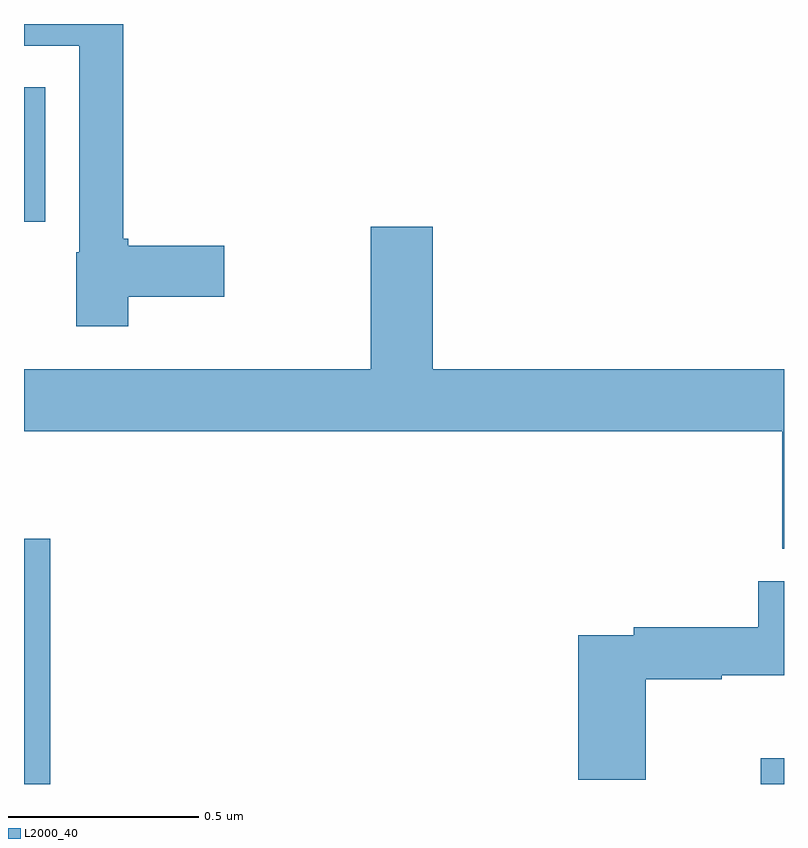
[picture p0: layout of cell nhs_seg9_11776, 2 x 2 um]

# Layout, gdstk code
import gdstk
lib = gdstk.Library(unit=1e-6, precision=1e-09)
def R(c, l, rs):  # rectangles x0, y0, x1, y1
    for r in rs: c.add(gdstk.rectangle(r[:2], r[2:], *l))
def P(c, l, *ps):  # polygons
    for p in ps: c.add(gdstk.Polygon(p, *l))
L2000_40 = (2000, 40)

nhs_seg9_11776 = lib.new_cell('nhs_seg9_11776')
R(nhs_seg9_11776, L2000_40, [(260,1187.5,260.069,1188.145), (261.939,1187.5,262,1187.568), (260,1188.979,260.056,1189.333)])
P(nhs_seg9_11776, L2000_40, [(260.274,1188.782),(260.527,1188.782),(260.527,1188.917),(260.274,1188.917),(260.274,1188.935),(260.261,1188.935),(260.261,1189.5),(260,1189.5),(260,1189.443),(260.145,1189.443),(260.145,1188.9),(260.138,1188.9),(260.138,1188.704),(260.274,1188.704)],
  [(262,1188.592),(261.076,1188.592),(261.076,1188.967),(260.912,1188.967),(260.912,1188.592),(260,1188.592),(260,1188.428),(261.995,1188.428),(261.995,1188.119),(262,1188.119)],
  [(261.636,1187.776),(261.836,1187.776),(261.836,1187.786),(262,1187.786),(262,1188.034),(261.932,1188.034),(261.932,1187.912),(261.604,1187.912),(261.604,1187.892),(261.458,1187.892),(261.458,1187.511),(261.636,1187.511)])

lib.write_gds('nhs_seg9_11776.gds')
